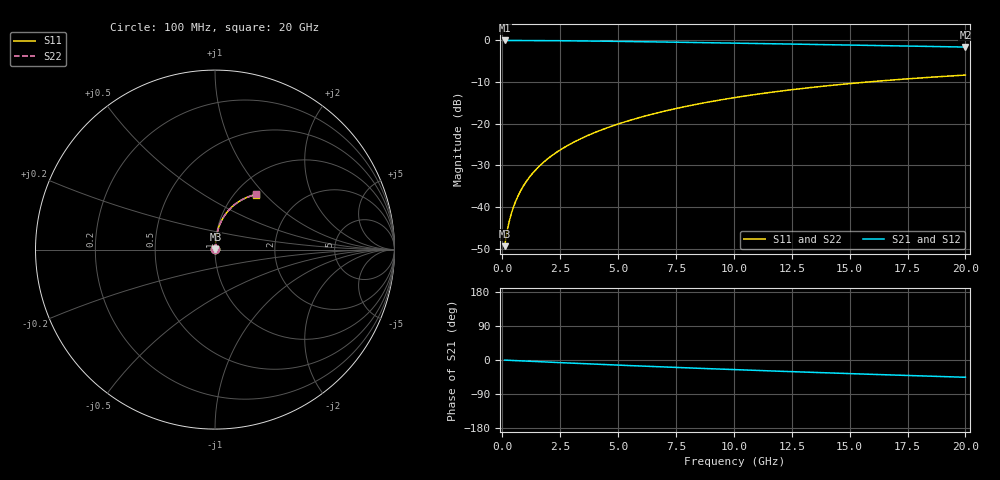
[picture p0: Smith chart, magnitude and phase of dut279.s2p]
! Touchstone file exported from HFSS 2024.1.0
!  File:  C:/UserFiles/LocalFiles/RDL_TSV_Batchsim/temp_RDL_top_279_1778689995.aedt
!  Generated:  12:35:18 AM May 14, 2026
!  Design:  RDL_top
!  Project:  temp_RDL_top_279_1778689995
!  Setup:  Setup1
!  Solution:  Sweep
! Variables:
!  dtsv = 10.80580581um
!  hbump = 3um
!  htsv = 64.45um
!  ldown = 100um
!  lrdl = 674.29um
!  p = 40
!  p1 = 48.52um
!  rhole = 1um
!  t = 450um
!  tdown = 3.915915916um
!  trdl = 4.52um
!  wdown = 15.38538539um
!  wrdl = 21.16um
# GHz S MA R 50.000000
! Terminal data exported
! Port[1] = Box2_T1
! Port[2] = Box2_T2
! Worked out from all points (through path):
!   200 points, 100 MHz to 20 GHz, reference 50 ohm
!   highest |S21| = -0.02 dB at 100 MHz (marker M1); lowest = -1.6 dB at 20 GHz (marker M2)
!   group delay of S21, straight-line fit = 6.28 ps
!   lowest |S11| = -49.3 dB at 100 MHz (marker M3), VSWR 1.01, Z = 50.3 + j0.214 ohm
!   |S11| at or under -10 dB: start of sweep to 15.74 GHz
!   |S22| runs from -49.3 to -8.3 dB; largest |S21 - S12| = 1.1e-14
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0.1  0.003411 38.7  0.9973 -0.3  0.9973 -0.3  0.003411 38.7
! Gamma 0 0 0 0
! Port Impedance 50 0 50 0
0.2  0.005027 55.8  0.9971 -0.6  0.9971 -0.6  0.005027 55.8
0.3  0.006779 63.9  0.9969 -0.9  0.9969 -0.9  0.006779 63.9
0.4  0.008562 68.8  0.9968 -1.1  0.9968 -1.1  0.008562 68.8
0.5  0.01037 72.0  0.9966 -1.4  0.9966 -1.4  0.01037 72.0
0.6  0.01219 74.4  0.9964 -1.7  0.9964 -1.7  0.01219 74.4
0.8  0.01589 77.6  0.996 -2.3  0.996 -2.3  0.01589 77.6
1.1  0.02153 80.3  0.9953 -3.1  0.9953 -3.1  0.02153 80.3
1.5  0.02916 82.1  0.9941 -4.2  0.9941 -4.2  0.02916 82.1
1.8  0.03494 82.9  0.993 -5.0  0.993 -5.0  0.03493 82.9
2.1  0.04075 83.3  0.9917 -5.9  0.9917 -5.9  0.04075 83.3
2.7  0.05252 83.7  0.9887 -7.5  0.9887 -7.5  0.05252 83.7
3.5  0.06848 83.6  0.9837 -9.6  0.9837 -9.6  0.06848 83.6
4.2  0.08271 83.1  0.9788 -11.4  0.9788 -11.4  0.08272 83.1
5  0.09926 82.3  0.9725 -13.5  0.9725 -13.5  0.09927 82.3
6.8  0.1373 79.7  0.9569 -17.9  0.9569 -17.9  0.1374 79.7
8.4  0.1716 76.8  0.9421 -21.7  0.9421 -21.7  0.1716 76.8
10.1  0.2075 73.4  0.9259 -25.5  0.9259 -25.5  0.2075 73.4
11.7  0.2402 70.0  0.9104 -29.0  0.9104 -29.0  0.2403 70.1
13.4  0.2735 66.4  0.8939 -32.6  0.8939 -32.6  0.2736 66.5
16.7  0.3326 59.6  0.8621 -39.3  0.8621 -39.3  0.3327 59.6
20  0.3836 53.1  0.8312 -45.6  0.8312 -45.6  0.3837 53.2
